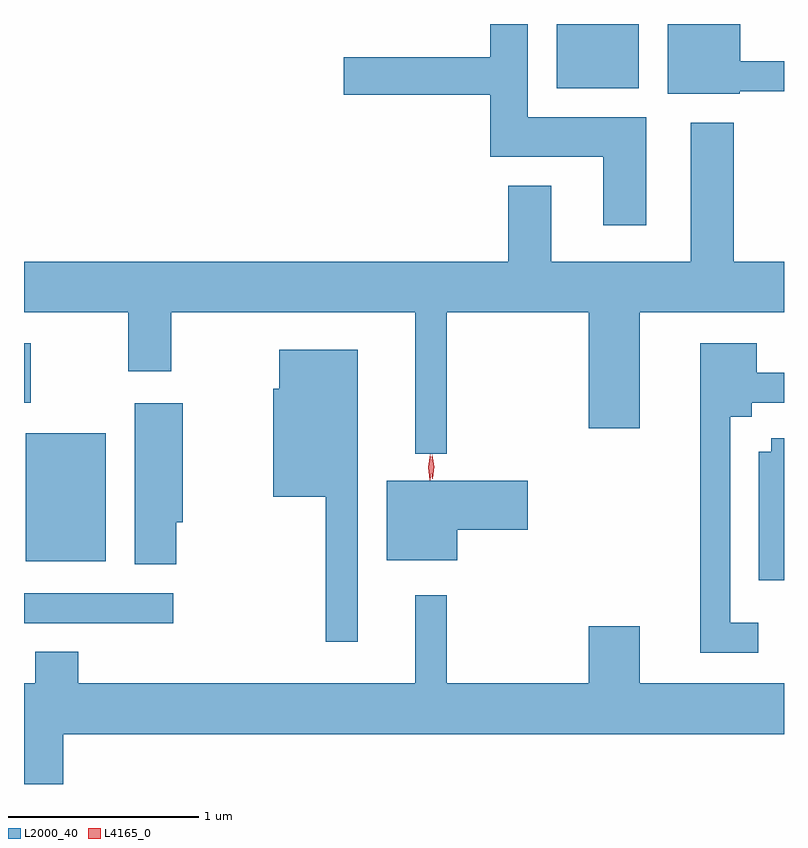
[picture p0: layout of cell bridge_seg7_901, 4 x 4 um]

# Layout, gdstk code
import gdstk
lib = gdstk.Library(unit=1e-6, precision=1e-09)
def R(c, l, rs):  # rectangles x0, y0, x1, y1
    for r in rs: c.add(gdstk.rectangle(r[:2], r[2:], *l))
def P(c, l, *ps):  # polygons
    for p in ps: c.add(gdstk.Polygon(p, *l))
L2000_40 = (2000, 40)
L4165_0 = (4165, 0)

bridge_seg7_901 = lib.new_cell('bridge_seg7_901')
R(bridge_seg7_901, L2000_40, [(531.783,1699.361,532.568,1699.519), (531.791,1699.686,532.214,1700.359), (531.783,1700.521,531.819,1700.834), (534.586,1702.176,535.019,1702.514)])
P(bridge_seg7_901, L2000_40, [(535.059,1702.024),(534.434,1702.024),(534.434,1702.514),(534.236,1702.514),(534.236,1702.339),(533.466,1702.339),(533.466,1702.141),(534.236,1702.141),(534.236,1701.816),(534.831,1701.816),(534.831,1701.456),(535.059,1701.456)],
  [(535.55,1702.161),(535.783,1702.161),(535.783,1702.319),(535.554,1702.319),(535.554,1702.514),(535.171,1702.514),(535.171,1702.146),(535.55,1702.146)],
  [(534.009,1700.996),(534.756,1700.996),(534.756,1700.386),(535.024,1700.386),(535.024,1700.996),(535.783,1700.996),(535.783,1701.264),(535.519,1701.264),(535.519,1701.994),(535.291,1701.994),(535.291,1701.264),(534.559,1701.264),(534.559,1701.664),(534.331,1701.664),(534.331,1701.264),(531.783,1701.264),(531.783,1700.996),(532.331,1700.996),(532.331,1700.686),(532.559,1700.686),(532.559,1700.996),(533.841,1700.996),(533.841,1700.253),(534.009,1700.253)],
  [(535.648,1699.364),(535.499,1699.364),(535.499,1700.446),(535.614,1700.446),(535.614,1700.521),(535.783,1700.521),(535.783,1700.679),(535.639,1700.679),(535.639,1700.834),(535.341,1700.834),(535.341,1699.206),(535.648,1699.206)],
  [(533.539,1700.799),(533.126,1700.799),(533.126,1700.594),(533.096,1700.594),(533.096,1700.026),(533.371,1700.026),(533.371,1699.263),(533.539,1699.263)],
  [(532.584,1699.891),(532.619,1699.891),(532.619,1700.519),(532.366,1700.519),(532.366,1699.671),(532.584,1699.671)],
  [(535.783,1700.334),(535.716,1700.334),(535.716,1700.264),(535.651,1700.264),(535.651,1699.586),(535.783,1699.586)],
  [(534.064,1699.851),(534.434,1699.851),(534.434,1700.109),(533.691,1700.109),(533.691,1699.691),(534.064,1699.691)],
  [(531.989,1698.776),(535.783,1698.776),(535.783,1699.044),(535.024,1699.044),(535.024,1699.344),(534.756,1699.344),(534.756,1699.044),(534.009,1699.044),(534.009,1699.508),(533.841,1699.508),(533.841,1699.044),(532.069,1699.044),(532.069,1699.209),(531.841,1699.209),(531.841,1699.044),(531.783,1699.044),(531.783,1698.514),(531.989,1698.514)])
P(bridge_seg7_901, L4165_0, [(533.919,1700.114),(533.91,1700.182),(533.92,1700.25),(533.921,1700.25),(533.922,1700.25),(533.93,1700.182),(533.92,1700.114),(533.92,1700.114)],
  [(533.932,1700.12),(533.932,1700.121),(533.922,1700.184),(533.931,1700.246),(533.932,1700.247),(533.932,1700.246),(533.942,1700.184),(533.933,1700.121)])

lib.write_gds('bridge_seg7_901.gds')
